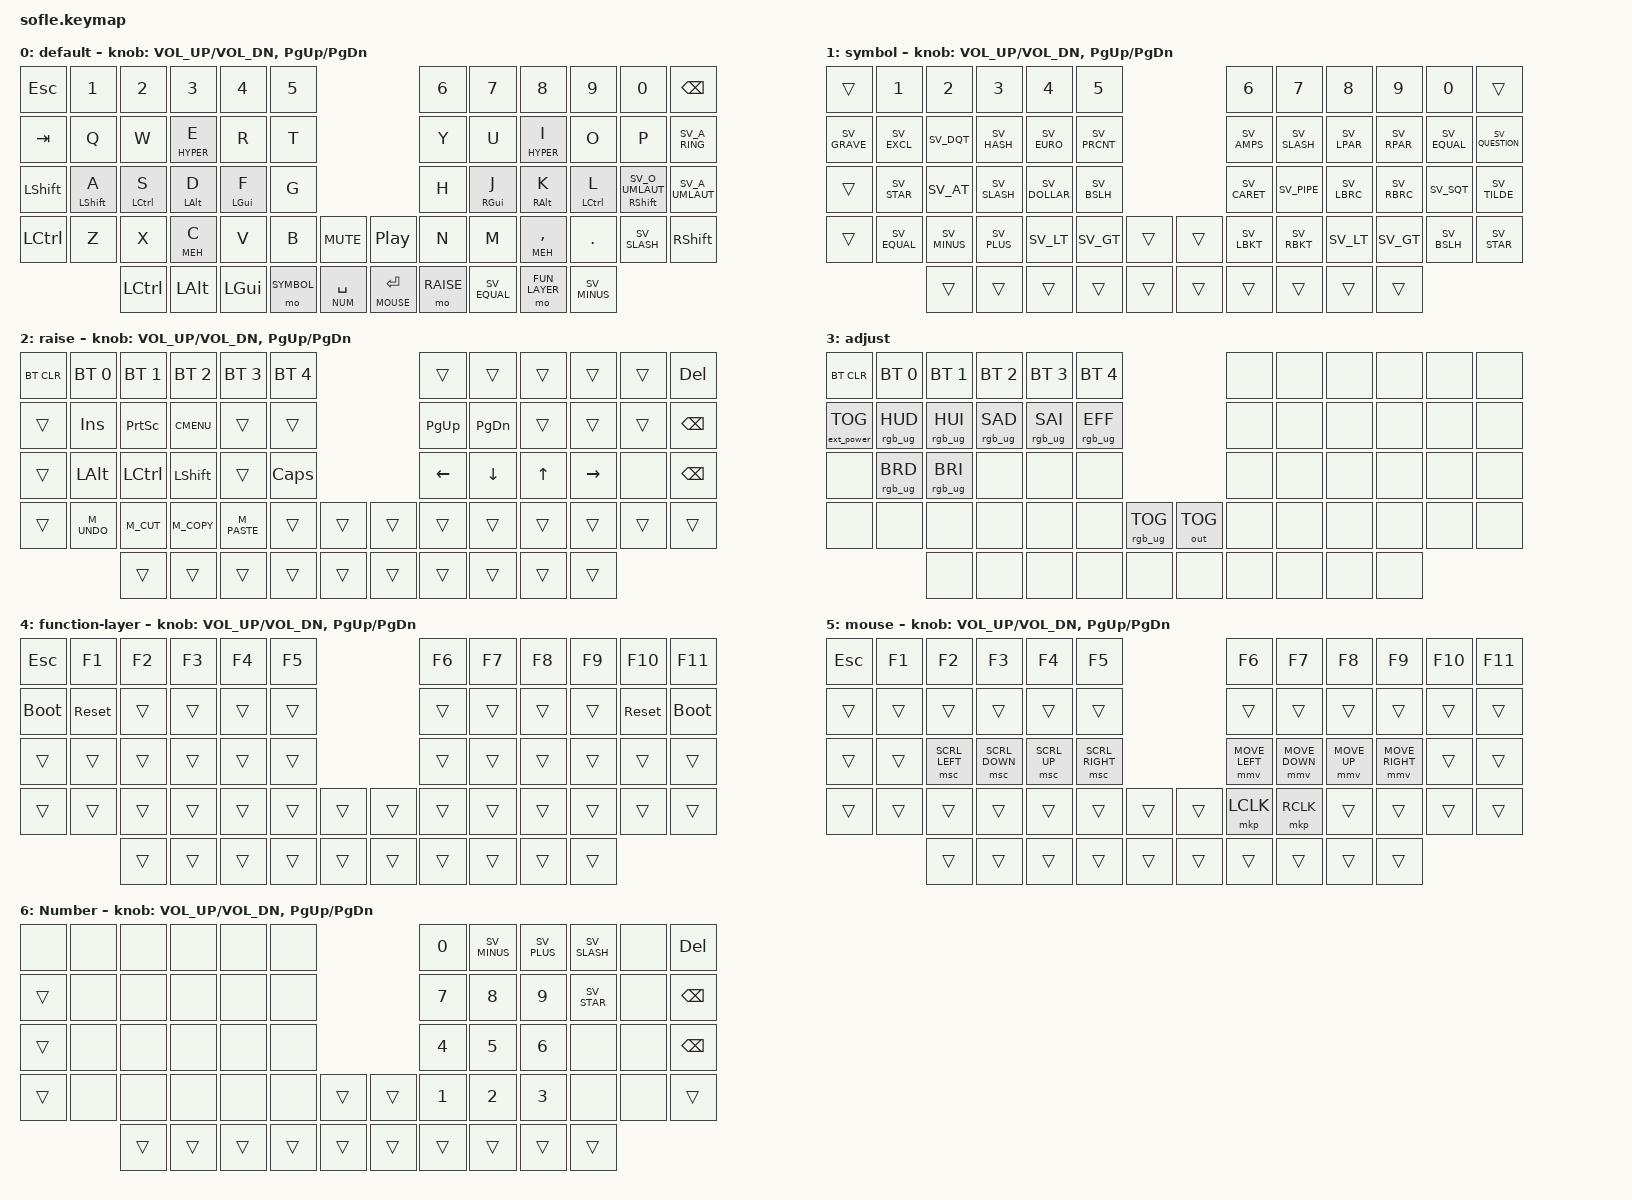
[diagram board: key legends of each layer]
/*
 * Copyright (c) 2020 The ZMK Contributors
 *
 * SPDX-License-Identifier: MIT
 */

#define ZMK_POINTING_DEFAULT_MOVE_VAL 1500  // default: 600
#define ZMK_POINTING_DEFAULT_SCRL_VAL 20    // default: 10

#include <input/processors.dtsi>
#include <behaviors.dtsi>
#include <dt-bindings/zmk/bt.h>
#include <dt-bindings/zmk/ext_power.h>
#include <dt-bindings/zmk/keys.h>
#include <dt-bindings/zmk/outputs.h>
#include <dt-bindings/zmk/pointing.h>
#include <dt-bindings/zmk/rgb.h>

#include "includes/key-labels/sofle.h"
#ifndef KEYMAP_DRAWER
  #include "keys_sv.h"
#endif
#include "includes/settings.dtsi"
#include "includes/custom_keys.dtsi"
#include "includes/combos.dtsi"

/ {
    macros {
        M_UNDO: M_UNDO {
            compatible = "zmk,behavior-macro";
            #binding-cells = <0>;
            bindings =
                <&macro_press>,
                <&kp LGUI>,
                <&macro_tap>,
                <&kp Z>,
                <&macro_release>,
                <&kp LGUI>;
        };

        M_CUT: M_CUT {
            compatible = "zmk,behavior-macro";
            #binding-cells = <0>;
            bindings =
                <&macro_press>,
                <&kp LGUI>,
                <&macro_tap>,
                <&kp X>,
                <&macro_release>,
                <&kp LGUI>;
        };

        M_COPY: M_COPY {
            compatible = "zmk,behavior-macro";
            #binding-cells = <0>;
            bindings =
                <&macro_press>,
                <&kp LGUI>,
                <&macro_tap>,
                <&kp C>,
                <&macro_release>,
                <&kp LGUI>;
        };

        M_PASTE: M_PASTE {
            compatible = "zmk,behavior-macro";
            #binding-cells = <0>;
            bindings =
                <&macro_press>,
                <&kp LGUI>,
                <&macro_tap>,
                <&kp V>,
                <&macro_release>,
                <&kp LGUI>;
        };
    };

    behaviors {
        hml: home_row_mod_left {
            compatible = "zmk,behavior-hold-tap";
            #binding-cells = <2>;
            flavor = "balanced";
            require-prior-idle-ms = <150>;
            tapping-term-ms = <280>;
            quick-tap-ms = <175>;
            bindings = <&kp>, <&kp>;
            hold-trigger-key-positions = <KEYS_R THUMBS>; // List of keys on the right side of the keyboard
            hold-trigger-on-release;
        };
        hmr: home_row_mod_right {
            compatible = "zmk,behavior-hold-tap";
            #binding-cells = <2>;
            flavor = "balanced";
            require-prior-idle-ms = <150>;
            tapping-term-ms = <280>;
            quick-tap-ms = <175>;
            bindings = <&kp>, <&kp>;
            hold-trigger-key-positions = <KEYS_L THUMBS>; // List of keys on the left side of the keyboard
            hold-trigger-on-release;
        };
    };
};

/ {
    // Activate ADJUST layer by pressing raise and lower

    conditional_layers {
        compatible = "zmk,conditional-layers";

        adjust_layer {
            if-layers = <SYMBOL RAISE>;
            then-layer = <ADJUST>;
        };
    };

    keymap {
        compatible = "zmk,keymap";

        default_layer {
            display-name = "default";

            bindings = <
//    ╭───────┬───────────────┬──────────────┬──────────────┬─────────────┬───────────╮                                     ╭──────────┬─────────────┬──────────────┬──────────────┬───────────────┬──────╮
//    │  ESC  │       1       │      2       │      3       │      4      │     5     │                                     │    6     │      7      │      8       │      9       │       0       │ BSPC │
//    ├───────┼───────────────┼──────────────┼──────────────┼─────────────┼───────────┤                                     ├──────────┼─────────────┼──────────────┼──────────────┼───────────────┼──────┤
//    │  TAB  │       Q       │      W       │ &hml HYPER E │      R      │     T     │                                     │    Y     │      U      │ &hmr HYPER I │      O       │       P       │  Å   │
//    ├───────┼───────────────┼──────────────┼──────────────┼─────────────┼───────────┤                                     ├──────────┼─────────────┼──────────────┼──────────────┼───────────────┼──────┤
//    │ LSFT  │ &hml LSHIFT A │ &hml LCTRL S │ &hml LALT D  │ &hml LGUI F │     G     │                                     │    H     │ &hmr RGUI J │ &hmr RALT K  │ &hmr LCTRL L │ &hmr RSHIFT Ö │  Ä   │
//    ├───────┼───────────────┼──────────────┼──────────────┼─────────────┼───────────┼──────────────╮       ╭──────────────┼──────────┼─────────────┼──────────────┼──────────────┼───────────────┼──────┤
//    │ LCTRL │       Z       │      X       │  &hml MEH C  │      V      │     B     │      🔇      │       │     PLAY     │    N     │      M      │  &hmr MEH ,  │      .       │       /       │ RSFT │
//    ╰───────┴───────────────┼──────────────┼──────────────┼─────────────┼───────────┼──────────────┤       ├──────────────┼──────────┼─────────────┼──────────────┼──────────────┼───────────────┴──────╯
//                            │    LCTRL     │     LALT     │    LGUI     │ MO SYMBOL │ LT NUM SPACE │       │ LT MOUSE ENT │ MO RAISE │      =      │ MO FUN_LAYER │      -       │
//                            ╰──────────────┴──────────────┴─────────────┴───────────┴──────────────╯       ╰──────────────┴──────────┴─────────────┴──────────────┴──────────────╯
  &kp ESC     &kp N1          &kp N2         &kp N3         &kp N4        &kp N5                                                  &kp N6      &kp N7         &kp N8           &kp N9         &kp N0                    &kp BSPC
  &kp TAB     &kp Q           &kp W          &hml HYPER E   &kp R         &kp T                                                   &kp Y       &kp U          &hmr HYPER I     &kp O          &kp P                     &kp SV_A_RING
  &kp LSHFT   &hml LSHIFT A   &hml LCTRL S   &hml LALT D    &hml LGUI F   &kp G                                                   &kp H       &hmr RGUI J    &hmr RALT K      &hmr LCTRL L   &hmr RSHIFT SV_O_UMLAUT   &kp SV_A_UMLAUT
  &kp LCTRL   &kp Z           &kp X          &hml MEH C     &kp V         &kp B        &kp C_MUTE              &kp C_PLAY_PAUSE   &kp N       &kp M          &hmr MEH COMMA   &kp DOT        &kp SV_SLASH              &kp RSHFT
                              &kp LCTRL      &kp LALT       &kp LGUI      &mo SYMBOL   &lt NUM SPACE           &lt MOUSE RET      &mo RAISE   &kp SV_EQUAL   &mo FUN_LAYER    &kp SV_MINUS
            >;

            sensor-bindings = <&inc_dec_kp C_VOL_UP C_VOL_DN &inc_dec_kp PG_UP PG_DN>;
        };

        symbol_layer {
            display-name = "symbol";

            bindings = <
//    ╭───┬───┬───┬───┬───┬───╮               ╭───┬───┬───┬───┬───┬───╮
//    │   │ 1 │ 2 │ 3 │ 4 │ 5 │               │ 6 │ 7 │ 8 │ 9 │ 0 │   │
//    ├───┼───┼───┼───┼───┼───┤               ├───┼───┼───┼───┼───┼───┤
//    │ ` │ ! │ " │ # │ € │ % │               │ & │ / │ ( │ ) │ = │ ? │
//    ├───┼───┼───┼───┼───┼───┤               ├───┼───┼───┼───┼───┼───┤
//    │   │ * │ @ │ / │ $ │ \ │               │ ^ │ | │ { │ } │ ' │ ~ │
//    ├───┼───┼───┼───┼───┼───┼───╮       ╭───┼───┼───┼───┼───┼───┼───┤
//    │   │ = │ - │ + │ < │ > │   │       │   │ [ │ ] │ < │ > │ \ │ * │
//    ╰───┴───┼───┼───┼───┼───┼───┤       ├───┼───┼───┼───┼───┼───┴───╯
//            │   │   │   │   │   │       │   │   │   │   │   │
//            ╰───┴───┴───┴───┴───╯       ╰───┴───┴───┴───┴───╯
  &trans         &kp N1         &kp N2         &kp N3         &kp N4          &kp N5                                   &kp N6         &kp N7         &kp N8        &kp N9        &kp N0         &trans
  &kp SV_GRAVE   &kp SV_EXCL    &kp SV_DQT     &kp SV_HASH    &kp SV_EURO     &kp SV_PRCNT                             &kp SV_AMPS    &kp SV_SLASH   &kp SV_LPAR   &kp SV_RPAR   &kp SV_EQUAL   &kp SV_QUESTION
  &trans         &kp SV_STAR    &kp SV_AT      &kp SV_SLASH   &kp SV_DOLLAR   &kp SV_BSLH                              &kp SV_CARET   &kp SV_PIPE    &kp SV_LBRC   &kp SV_RBRC   &kp SV_SQT     &kp SV_TILDE
  &trans         &kp SV_EQUAL   &kp SV_MINUS   &kp SV_PLUS    &kp SV_LT       &kp SV_GT      &trans           &trans   &kp SV_LBKT    &kp SV_RBKT    &kp SV_LT     &kp SV_GT     &kp SV_BSLH    &kp SV_STAR
                                &trans         &trans         &trans          &trans         &trans           &trans   &trans         &trans         &trans        &trans
            >;

            sensor-bindings = <&inc_dec_kp C_VOL_UP C_VOL_DN &inc_dec_kp PG_UP PG_DN>;
        };

        raise_layer {
            display-name = "raise";


            bindings = <
//    ╭──────┬─────────┬────────┬─────────┬──────────┬───────╮               ╭───┬───┬───┬───┬─────┬──────╮
//    │ 🛜❌ │  SEL 0  │ SEL 1  │  SEL 2  │  SEL 3   │ SEL 4 │               │   │   │   │   │     │ DEL  │
//    ├──────┼─────────┼────────┼─────────┼──────────┼───────┤               ├───┼───┼───┼───┼─────┼──────┤
//    │      │   INS   │  PSCR  │   🌍    │          │       │               │ ⇞ │ ⇟ │   │   │     │ BSPC │
//    ├──────┼─────────┼────────┼─────────┼──────────┼───────┤               ├───┼───┼───┼───┼─────┼──────┤
//    │      │  LALT   │ LCTRL  │  LSFT   │          │ CAPS  │               │ ← │ ↓ │ ↑ │ → │     │ BSPC │
//    ├──────┼─────────┼────────┼─────────┼──────────┼───────┼───╮       ╭───┼───┼───┼───┼───┼─────┼──────┤
//    │      │ &M_UNDO │ &M_CUT │ &M_COPY │ &M_PASTE │       │   │       │   │   │   │   │   │     │      │
//    ╰──────┴─────────┼────────┼─────────┼──────────┼───────┼───┤       ├───┼───┼───┼───┼───┼─────┴──────╯
//                     │        │         │          │       │   │       │   │   │   │   │   │
//                     ╰────────┴─────────┴──────────┴───────┴───╯       ╰───┴───┴───┴───┴───╯
  &bt BT_CLR   &bt BT_SEL 0   &bt BT_SEL 1   &bt BT_SEL 2   &bt BT_SEL 3   &bt BT_SEL 4                             &trans      &trans      &trans   &trans      &trans   &kp DEL
  &trans       &kp INS        &kp PSCRN      &kp K_CMENU    &trans         &trans                                   &kp PG_UP   &kp PG_DN   &trans   &trans      &trans   &kp BSPC
  &trans       &kp LALT       &kp LCTRL      &kp LSHFT      &trans         &kp CLCK                                 &kp LEFT    &kp DOWN    &kp UP   &kp RIGHT   &none    &kp BSPC
  &trans       &M_UNDO        &M_CUT         &M_COPY        &M_PASTE       &trans         &trans           &trans   &trans      &trans      &trans   &trans      &trans   &trans
                              &trans         &trans         &trans         &trans         &trans           &trans   &trans      &trans      &trans   &trans
            >;

            sensor-bindings = <&inc_dec_kp C_VOL_UP C_VOL_DN &inc_dec_kp PG_UP PG_DN>;
        };

        adjust_layer {

            display-name = "adjust";
            bindings = <
//    ╭──────┬─────────┬─────────┬─────────┬─────────┬─────────╮                            ╭─────┬─────┬─────┬─────┬─────┬─────╮
//    │ 🛜❌ │  SEL 0  │  SEL 1  │  SEL 2  │  SEL 3  │  SEL 4  │                            │     │     │     │     │     │     │
//    ├──────┼─────────┼─────────┼─────────┼─────────┼─────────┤                            ├─────┼─────┼─────┼─────┼─────┼─────┤
//    │  🔌  │ UG_ HU- │ UG_ HU+ │ UG_ SA- │ UG_ SA+ │ UG_ EFF │                            │     │     │     │     │     │     │
//    ├──────┼─────────┼─────────┼─────────┼─────────┼─────────┤                            ├─────┼─────┼─────┼─────┼─────┼─────┤
//    │      │ UG_ BR- │ UG_ BR+ │         │         │         │                            │     │     │     │     │     │     │
//    ├──────┼─────────┼─────────┼─────────┼─────────┼─────────┼─────────╮       ╭──────────┼─────┼─────┼─────┼─────┼─────┼─────┤
//    │      │         │         │         │         │         │ UG_ TOG │       │ OUT_ TOG │     │     │     │     │     │     │
//    ╰──────┴─────────┼─────────┼─────────┼─────────┼─────────┼─────────┤       ├──────────┼─────┼─────┼─────┼─────┼─────┴─────╯
//                     │         │         │         │         │         │       │          │     │     │     │     │
//                     ╰─────────┴─────────┴─────────┴─────────┴─────────╯       ╰──────────┴─────┴─────┴─────┴─────╯
  &bt BT_CLR          &bt BT_SEL 0      &bt BT_SEL 1      &bt BT_SEL 2      &bt BT_SEL 3      &bt BT_SEL 4                                               &none   &none   &none   &none   &none   &none
  &ext_power EP_TOG   &rgb_ug RGB_HUD   &rgb_ug RGB_HUI   &rgb_ug RGB_SAD   &rgb_ug RGB_SAI   &rgb_ug RGB_EFF                                            &none   &none   &none   &none   &none   &none
  &none               &rgb_ug RGB_BRD   &rgb_ug RGB_BRI   &none             &none             &none                                                      &none   &none   &none   &none   &none   &none
  &none               &none             &none             &none             &none             &none             &rgb_ug RGB_TOG           &out OUT_TOG   &none   &none   &none   &none   &none   &none
                                        &none             &none             &none             &none             &none                     &none          &none   &none   &none   &none
            >;
        };

        fun_layer {

            display-name = "function-layer";
            bindings = <
//    ╭─────┬────┬────┬────┬────┬────╮               ╭────┬────┬────┬────┬─────┬─────╮
//    │ ESC │ F1 │ F2 │ F3 │ F4 │ F5 │               │ F6 │ F7 │ F8 │ F9 │ F10 │ F11 │
//    ├─────┼────┼────┼────┼────┼────┤               ├────┼────┼────┼────┼─────┼─────┤
//    │ 💾  │ 🔄 │    │    │    │    │               │    │    │    │    │ 🔄  │ 💾  │
//    ├─────┼────┼────┼────┼────┼────┤               ├────┼────┼────┼────┼─────┼─────┤
//    │     │    │    │    │    │    │               │    │    │    │    │     │     │
//    ├─────┼────┼────┼────┼────┼────┼───╮       ╭───┼────┼────┼────┼────┼─────┼─────┤
//    │     │    │    │    │    │    │   │       │   │    │    │    │    │     │     │
//    ╰─────┴────┼────┼────┼────┼────┼───┤       ├───┼────┼────┼────┼────┼─────┴─────╯
//               │    │    │    │    │   │       │   │    │    │    │    │
//               ╰────┴────┴────┴────┴───╯       ╰───┴────┴────┴────┴────╯
  &kp ESC       &kp F1       &kp F2   &kp F3   &kp F4   &kp F5                             &kp F6   &kp F7   &kp F8   &kp F9   &kp F10      &kp F11
  &bootloader   &sys_reset   &trans   &trans   &trans   &trans                             &trans   &trans   &trans   &trans   &sys_reset   &bootloader
  &trans        &trans       &trans   &trans   &trans   &trans                             &trans   &trans   &trans   &trans   &trans       &trans
  &trans        &trans       &trans   &trans   &trans   &trans   &trans           &trans   &trans   &trans   &trans   &trans   &trans       &trans
                             &trans   &trans   &trans   &trans   &trans           &trans   &trans   &trans   &trans   &trans
            >;

            sensor-bindings = <&inc_dec_kp C_VOL_UP C_VOL_DN &inc_dec_kp PG_UP PG_DN>;
        };

        mouse_layer {
            display-name = "mouse";

            bindings = <
//    ╭─────┬────┬────────────────┬────────────────┬──────────────┬─────────────────╮               ╭────────────────┬────────────────┬──────────────┬─────────────────┬─────┬─────╮
//    │ ESC │ F1 │       F2       │       F3       │      F4      │       F5        │               │       F6       │       F7       │      F8      │       F9        │ F10 │ F11 │
//    ├─────┼────┼────────────────┼────────────────┼──────────────┼─────────────────┤               ├────────────────┼────────────────┼──────────────┼─────────────────┼─────┼─────┤
//    │     │    │                │                │              │                 │               │                │                │              │                 │     │     │
//    ├─────┼────┼────────────────┼────────────────┼──────────────┼─────────────────┤               ├────────────────┼────────────────┼──────────────┼─────────────────┼─────┼─────┤
//    │     │    │ &msc SCRL_LEFT │ &msc SCRL_DOWN │ &msc SCRL_UP │ &msc SCRL_RIGHT │               │ &mmv MOVE_LEFT │ &mmv MOVE_DOWN │ &mmv MOVE_UP │ &mmv MOVE_RIGHT │     │     │
//    ├─────┼────┼────────────────┼────────────────┼──────────────┼─────────────────┼───╮       ╭───┼────────────────┼────────────────┼──────────────┼─────────────────┼─────┼─────┤
//    │     │    │                │                │              │                 │   │       │   │      🖱️L       │      🖱️R       │              │                 │     │     │
//    ╰─────┴────┼────────────────┼────────────────┼──────────────┼─────────────────┼───┤       ├───┼────────────────┼────────────────┼──────────────┼─────────────────┼─────┴─────╯
//               │                │                │              │                 │   │       │   │                │                │              │                 │
//               ╰────────────────┴────────────────┴──────────────┴─────────────────┴───╯       ╰───┴────────────────┴────────────────┴──────────────┴─────────────────╯
  &kp ESC   &kp F1   &kp F2           &kp F3           &kp F4         &kp F5                                      &kp F6           &kp F7           &kp F8         &kp F9            &kp F10   &kp F11
  &trans    &trans   &trans           &trans           &trans         &trans                                      &trans           &trans           &trans         &trans            &trans    &trans
  &trans    &trans   &msc SCRL_LEFT   &msc SCRL_DOWN   &msc SCRL_UP   &msc SCRL_RIGHT                             &mmv MOVE_LEFT   &mmv MOVE_DOWN   &mmv MOVE_UP   &mmv MOVE_RIGHT   &trans    &trans
  &trans    &trans   &trans           &trans           &trans         &trans            &trans           &trans   &mkp LCLK        &mkp RCLK        &trans         &trans            &trans    &trans
                     &trans           &trans           &trans         &trans            &trans           &trans   &trans           &trans           &trans         &trans
            >;

            sensor-bindings = <&inc_dec_kp C_VOL_UP C_VOL_DN &inc_dec_kp PG_UP PG_DN>;
        };

        num_layer {
            display-name = "Number";

            bindings = <
//    ╭─────┬─────┬─────┬─────┬─────┬─────╮               ╭───┬───┬───┬─────┬─────┬──────╮
//    │     │     │     │     │     │     │               │ 0 │ - │ + │  /  │     │ DEL  │
//    ├─────┼─────┼─────┼─────┼─────┼─────┤               ├───┼───┼───┼─────┼─────┼──────┤
//    │     │     │     │     │     │     │               │ 7 │ 8 │ 9 │  *  │     │ BSPC │
//    ├─────┼─────┼─────┼─────┼─────┼─────┤               ├───┼───┼───┼─────┼─────┼──────┤
//    │     │     │     │     │     │     │               │ 4 │ 5 │ 6 │     │     │ BSPC │
//    ├─────┼─────┼─────┼─────┼─────┼─────┼───╮       ╭───┼───┼───┼───┼─────┼─────┼──────┤
//    │     │     │     │     │     │     │   │       │   │ 1 │ 2 │ 3 │     │     │      │
//    ╰─────┴─────┼─────┼─────┼─────┼─────┼───┤       ├───┼───┼───┼───┼─────┼─────┴──────╯
//                │     │     │     │     │   │       │   │   │   │   │     │
//                ╰─────┴─────┴─────┴─────┴───╯       ╰───┴───┴───┴───┴─────╯
  &none    &none   &none    &none    &none    &none                              &kp N0   &kp SV_MINUS   &kp SV_PLUS   &kp SV_SLASH   &none   &kp DEL
  &trans   &none   &none    &none    &none    &none                              &kp N7   &kp N8         &kp N9        &kp SV_STAR    &none   &kp BSPC
  &trans   &none   &none    &none    &none    &none                              &kp N4   &kp N5         &kp N6        &none          &none   &kp BSPC
  &trans   &none   &none    &none    &none    &none    &trans           &trans   &kp N1   &kp N2         &kp N3        &none          &none   &trans
                   &trans   &trans   &trans   &trans   &trans           &trans   &trans   &trans         &trans        &trans
            >;

            sensor-bindings = <&inc_dec_kp C_VOL_UP C_VOL_DN &inc_dec_kp PG_UP PG_DN>;
        };
    };
};
